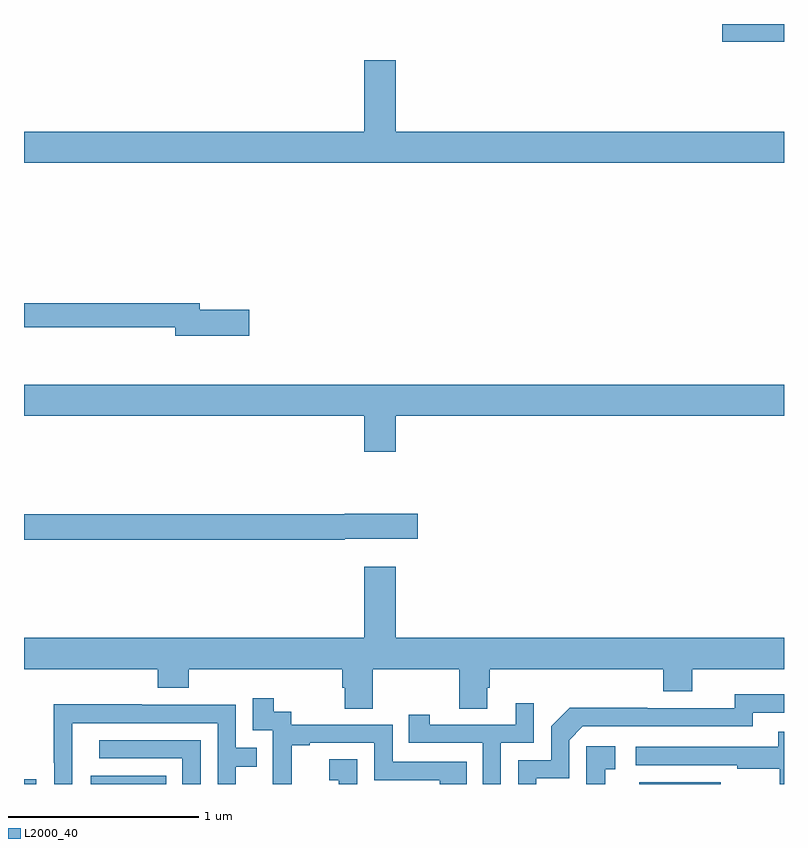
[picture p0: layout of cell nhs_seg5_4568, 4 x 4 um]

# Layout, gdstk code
import gdstk
lib = gdstk.Library(unit=1e-6, precision=1e-09)
def R(c, l, rs):  # rectangles x0, y0, x1, y1
    for r in rs: c.add(gdstk.rectangle(r[:2], r[2:], *l))
def P(c, l, *ps):  # polygons
    for p in ps: c.add(gdstk.Polygon(p, *l))
L2000_40 = (2000, 40)

nhs_seg5_4568 = lib.new_cell('nhs_seg5_4568')
R(nhs_seg5_4568, L2000_40, [(379,878.799,379.065,878.824), (379.352,878.799,379.748,878.842), (382.238,878.799,382.666,878.809), (382.674,882.706,383,882.799)])
P(nhs_seg5_4568, L2000_40, [(383,882.232),(380.956,882.232),(380.956,882.607),(380.792,882.607),(380.792,882.232),(379,882.232),(379,882.068),(383,882.068)],
  [(380.185,881.294),(379.924,881.294),(379.924,881.33),(379,881.33),(379,881.202),(379.796,881.202),(379.796,881.159),(380.185,881.159)],
  [(380.956,880.736),(383,880.736),(383,880.9),(379,880.9),(379,880.736),(380.792,880.736),(380.792,880.548),(380.956,880.548)],
  [(380.688,880.091),(381.073,880.091),(381.073,880.221),(380.688,880.221),(380.688,880.22),(379,880.22),(379,880.084),(380.688,880.084)],
  [(380.835,879.404),(381.292,879.404),(381.292,879.196),(381.439,879.196),(381.439,879.306),(381.452,879.306),(381.452,879.404),(382.364,879.404),(382.364,879.287),(382.516,879.287),(382.516,879.404),(383,879.404),(383,879.568),(380.956,879.568),(380.956,879.943),(380.792,879.943),(380.792,879.568),(379,879.568),(379,879.404),(379.703,879.404),(379.703,879.305),(379.868,879.305),(379.868,879.404),(380.675,879.404),(380.675,879.306),(380.687,879.306),(380.687,879.196),(380.835,879.196)],
  [(381.697,878.829),(381.87,878.829),(381.87,879.03),(381.942,879.102),(382.836,879.102),(382.836,879.174),(383,879.174),(383,879.271),(382.74,879.271),(382.74,879.198),(382.28,879.198),(382.28,879.2),(381.872,879.2),(381.774,879.102),(381.774,878.925),(381.6,878.925),(381.6,878.799),(381.697,878.799)],
  [(380.408,879.003),(380.503,879.003),(380.503,879.015),(380.844,879.015),(380.844,878.82),(381.189,878.82),(381.189,878.799),(381.329,878.799),(381.329,878.916),(380.94,878.916),(380.94,879.111),(380.406,879.111),(380.406,879.18),(380.314,879.18),(380.314,879.25),(380.205,879.25),(380.205,879.081),(380.31,879.081),(380.31,878.852),(380.309,878.852),(380.309,878.799),(380.408,878.799)],
  [(381.51,879.015),(381.684,879.015),(381.684,879.223),(381.587,879.223),(381.587,879.111),(381.136,879.111),(381.136,879.163),(381.025,879.163),(381.025,879.015),(381.414,879.015),(381.414,878.799),(381.51,878.799)],
  [(379.254,878.866),(379.255,878.866),(379.255,879.12),(380.019,879.12),(380.019,878.799),(380.115,878.799),(380.115,878.89),(380.225,878.89),(380.225,878.991),(380.115,878.991),(380.115,879.216),(379.619,879.216),(379.619,879.218),(379.156,879.218),(379.156,878.911),(379.158,878.911),(379.158,878.799),(379.254,878.799)],
  [(383,879.073),(382.969,879.073),(382.969,878.994),(382.221,878.994),(382.221,878.898),(382.753,878.898),(382.753,878.878),(382.977,878.878),(382.977,878.799),(383,878.799)],
  [(379.929,879.03),(379.395,879.03),(379.395,878.934),(379.833,878.934),(379.833,878.799),(379.929,878.799)],
  [(382.058,878.877),(382.111,878.877),(382.111,878.998),(381.96,878.998),(381.96,878.799),(382.058,878.799)],
  [(380.754,878.929),(380.607,878.929),(380.607,878.819),(380.656,878.819),(380.656,878.799),(380.754,878.799)])

lib.write_gds('nhs_seg5_4568.gds')
